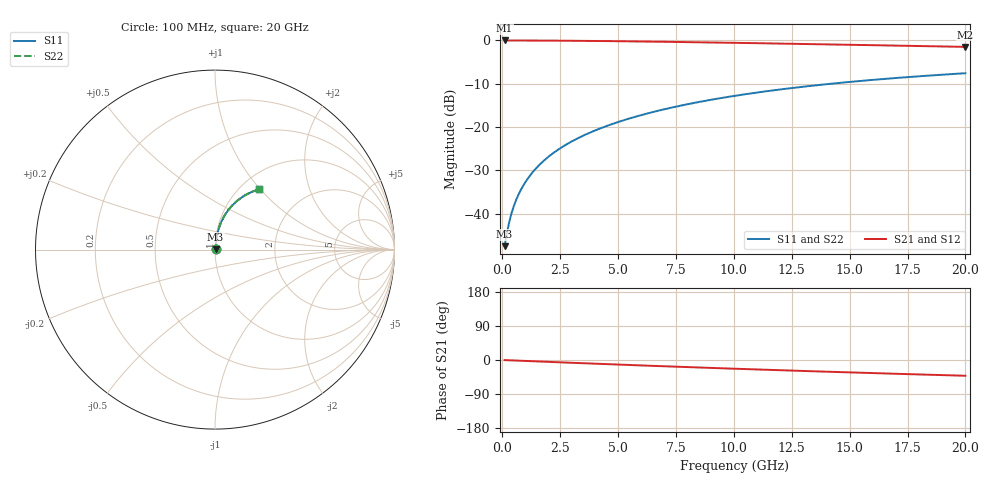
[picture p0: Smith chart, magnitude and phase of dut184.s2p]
! Touchstone file exported from HFSS 2024.1.0
!  File:  C:/UserFiles/LocalFiles/RDL_TSV_Batchsim/temp_RDL_bottom_184_1778698794.aedt
!  Generated:  03:02:43 AM May 14, 2026
!  Design:  RDL_bottom
!  Project:  temp_RDL_bottom_184_1778698794
!  Setup:  Setup1
!  Solution:  Sweep
! Variables:
!  dtsv = 10.80580581um
!  hbump = 3um
!  htsv = 59.46um
!  ldown = 567.93um
!  lrdl = 100um
!  p = 40
!  p1 = 48.69um
!  rhole = 1um
!  t = 450um
!  tdown = 3.49um
!  trdl = 3.915915916um
!  wdown = 17.38um
!  wrdl = 20um
# GHz S MA R 50.000000
! Terminal data exported
! Port[1] = RDL1_T1
! Port[2] = RDL1_T2
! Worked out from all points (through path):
!   200 points, 100 MHz to 20 GHz, reference 50 ohm
!   highest |S21| = -0.03 dB at 100 MHz (marker M1); lowest = -1.5 dB at 20 GHz (marker M2)
!   group delay of S21, straight-line fit = 5.75 ps
!   lowest |S11| = -47.5 dB at 100 MHz (marker M3), VSWR 1.01, Z = 50.3 + j0.243 ohm
!   |S11| at or under -10 dB: start of sweep to 14.23 GHz
!   |S22| runs from -47.5 to -7.6 dB; largest |S21 - S12| = 2.6e-15
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0.1  0.004222 34.9  0.9965 -0.3  0.9965 -0.3  0.004222 34.9
! Gamma 0 0 0 0
! Port Impedance 50 0 50 0
0.2  0.005977 53.2  0.9964 -0.5  0.9964 -0.5  0.005977 53.3
0.3  0.00802 62.3  0.9963 -0.8  0.9963 -0.8  0.00802 62.3
0.4  0.01014 67.6  0.9961 -1.0  0.9961 -1.0  0.01014 67.6
0.5  0.01229 70.9  0.9959 -1.3  0.9959 -1.3  0.01229 70.9
0.6  0.01445 73.3  0.9957 -1.5  0.9957 -1.5  0.01445 73.3
0.8  0.01881 76.5  0.9954 -2.0  0.9954 -2.0  0.01881 76.5
1.1  0.02541 79.1  0.9948 -2.7  0.9948 -2.7  0.02541 79.1
1.3  0.02985 80.2  0.9944 -3.2  0.9944 -3.2  0.02985 80.2
1.6  0.03654 81.1  0.9937 -4.0  0.9937 -4.0  0.03654 81.2
2.1  0.04778 81.9  0.9921 -5.2  0.9921 -5.2  0.04778 81.9
2.7  0.06136 82.1  0.9898 -6.6  0.9898 -6.6  0.06137 82.1
3.5  0.07961 81.7  0.986 -8.6  0.986 -8.6  0.07962 81.8
4.2  0.09567 81.1  0.982 -10.2  0.982 -10.2  0.0957 81.1
5  0.1141 80.1  0.9769 -12.1  0.9769 -12.1  0.1142 80.2
5.9  0.1349 78.9  0.9705 -14.1  0.9705 -14.1  0.135 78.9
6.8  0.1557 77.4  0.9636 -16.1  0.9636 -16.1  0.1557 77.5
8.4  0.1923 74.7  0.9502 -19.6  0.9502 -19.6  0.1924 74.7
10.1  0.2303 71.6  0.9351 -23.2  0.9351 -23.2  0.2304 71.6
13.4  0.2998 65.4  0.9041 -29.7  0.9041 -29.7  0.3001 65.4
16.7  0.3624 59.4  0.8721 -35.8  0.8721 -35.8  0.3627 59.4
20  0.4172 53.6  0.8402 -41.6  0.8402 -41.6  0.4175 53.7
